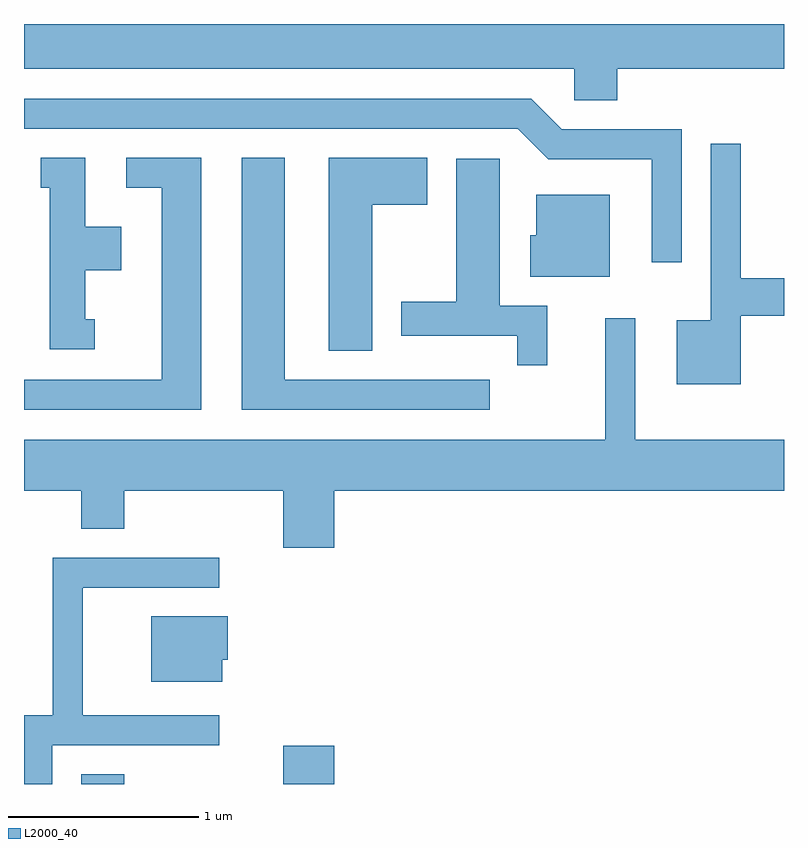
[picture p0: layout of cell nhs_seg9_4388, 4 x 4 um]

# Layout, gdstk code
import gdstk
lib = gdstk.Library(unit=1e-6, precision=1e-09)
def R(c, l, rs):  # rectangles x0, y0, x1, y1
    for r in rs: c.add(gdstk.rectangle(r[:2], r[2:], *l))
def P(c, l, *ps):  # polygons
    for p in ps: c.add(gdstk.Polygon(p, *l))
L2000_40 = (2000, 40)

nhs_seg9_4388 = lib.new_cell('nhs_seg9_4388')
R(nhs_seg9_4388, L2000_40, [(313.911,2052.432,314.139,2052.484), (314.976,2052.432,315.244,2052.634)])
P(nhs_seg9_4388, L2000_40, [(313.611,2056.196),(316.506,2056.196),(316.506,2056.031),(316.734,2056.031),(316.734,2056.196),(317.611,2056.196),(317.611,2056.432),(313.611,2056.432)],
  [(317.074,2055.879),(316.442,2055.879),(316.282,2056.039),(313.611,2056.039),(313.611,2055.881),(316.209,2055.881),(316.369,2055.721),(316.916,2055.721),(316.916,2055.178),(317.074,2055.178)],
  [(317.384,2054.896),(317.611,2054.896),(317.611,2055.094),(317.384,2055.094),(317.384,2055.803),(317.226,2055.803),(317.226,2054.874),(317.046,2054.874),(317.046,2054.536),(317.384,2054.536)],
  [(315.444,2055.481),(315.734,2055.481),(315.734,2055.729),(315.216,2055.729),(315.216,2054.711),(315.444,2054.711)],
  [(316.063,2054.559),(314.984,2054.559),(314.984,2055.729),(314.756,2055.729),(314.756,2054.401),(316.063,2054.401)],
  [(313.983,2054.879),(313.934,2054.879),(313.934,2055.136),(314.124,2055.136),(314.124,2055.364),(313.934,2055.364),(313.934,2055.729),(313.698,2055.729),(313.698,2055.571),(313.746,2055.571),(313.746,2054.721),(313.983,2054.721)],
  [(314.544,2055.729),(314.148,2055.729),(314.148,2055.571),(314.336,2055.571),(314.336,2054.559),(313.611,2054.559),(313.611,2054.401),(314.544,2054.401)],
  [(316.364,2054.949),(316.114,2054.949),(316.114,2055.724),(315.886,2055.724),(315.886,2054.969),(315.596,2054.969),(315.596,2054.791),(316.206,2054.791),(316.206,2054.637),(316.364,2054.637)],
  [(316.694,2055.534),(316.306,2055.534),(316.306,2055.319),(316.276,2055.319),(316.276,2055.101),(316.694,2055.101)],
  [(315.244,2053.976),(317.611,2053.976),(317.611,2054.244),(316.829,2054.244),(316.829,2054.883),(316.671,2054.883),(316.671,2054.244),(313.611,2054.244),(313.611,2053.976),(313.911,2053.976),(313.911,2053.776),(314.139,2053.776),(314.139,2053.976),(314.976,2053.976),(314.976,2053.676),(315.244,2053.676)],
  [(313.759,2052.636),(314.638,2052.636),(314.638,2052.794),(313.919,2052.794),(313.919,2053.466),(314.638,2053.466),(314.638,2053.624),(313.761,2053.624),(313.761,2052.794),(313.611,2052.794),(313.611,2052.432),(313.759,2052.432)],
  [(314.654,2053.086),(314.684,2053.086),(314.684,2053.314),(314.281,2053.314),(314.281,2052.971),(314.654,2052.971)])

lib.write_gds('nhs_seg9_4388.gds')
